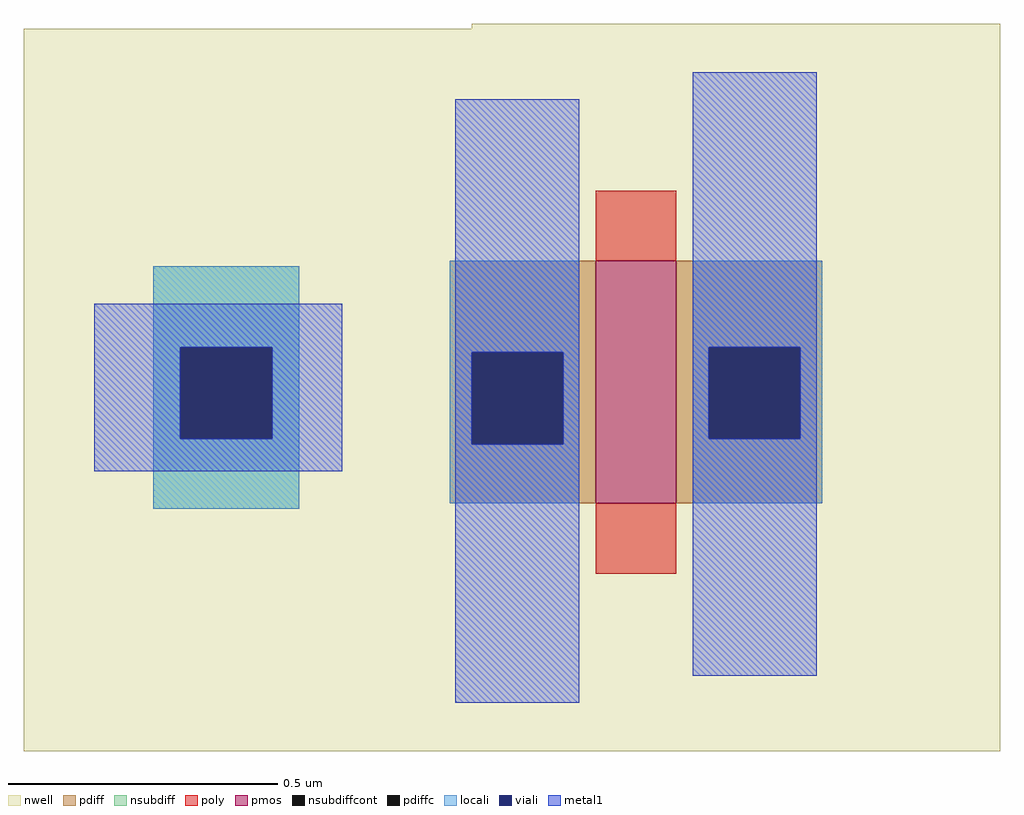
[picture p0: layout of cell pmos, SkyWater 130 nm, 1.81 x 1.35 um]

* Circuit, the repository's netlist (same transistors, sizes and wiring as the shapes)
* SPICE3 file created from pmos.ext - technology: sky130A

X0 a_30_2# a_0_n24# a_n54_2# w_n212_n90# sky130_fd_pr__pfet_01v8 ad=0.1215 pd=1.44 as=0.1215 ps=1.44 w=0.45 l=0.15

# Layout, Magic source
magic
tech sky130A
<< nwell >>
rect -23 89 75 90
rect -106 -45 75 89
<< pmos >>
rect 0 1 15 46
<< pdiff >>
rect -27 29 0 46
rect -27 12 -23 29
rect -6 12 0 29
rect -27 1 0 12
rect 15 30 42 46
rect 15 13 21 30
rect 38 13 42 30
rect 15 1 42 13
<< pdiffc >>
rect -23 12 -6 29
rect 21 13 38 30
<< nsubdiff >>
rect -82 30 -55 45
rect -82 13 -77 30
rect -60 13 -55 30
rect -82 0 -55 13
<< nsubdiffcont >>
rect -77 13 -60 30
<< poly >>
rect 0 46 15 59
rect 0 -12 15 1
<< locali >>
rect -82 30 -55 45
rect -82 13 -77 30
rect -60 13 -55 30
rect -82 0 -55 13
rect -27 29 -3 46
rect -27 12 -23 29
rect -6 12 -3 29
rect -27 1 -3 12
rect 18 30 42 46
rect 18 13 21 30
rect 38 13 42 30
rect 18 1 42 13
<< viali >>
rect -77 13 -60 30
rect -23 12 -6 29
rect 21 13 38 30
<< metal1 >>
rect -93 30 -47 38
rect -93 13 -77 30
rect -60 13 -47 30
rect -93 7 -47 13
rect -26 29 -3 76
rect -26 12 -23 29
rect -6 12 -3 29
rect -26 -36 -3 12
rect 18 30 41 81
rect 18 13 21 30
rect 38 13 41 30
rect 18 -31 41 13
<< end >>
